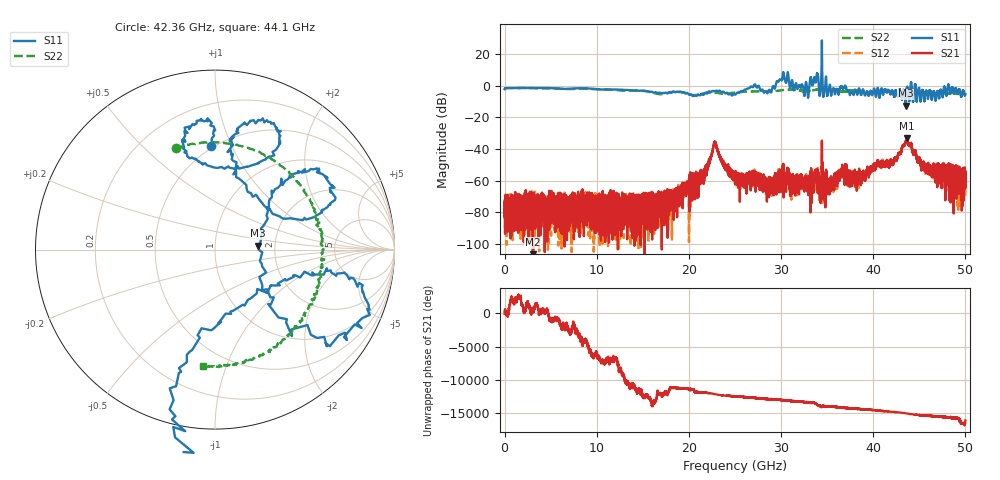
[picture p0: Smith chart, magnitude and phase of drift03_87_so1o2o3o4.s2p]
!Created with skrf (http://scikit-rf.org).
# Hz S RI R 50.0
!freq ReS11 ImS11 ReS21 ImS21 ReS12 ImS12 ReS22 ImS22
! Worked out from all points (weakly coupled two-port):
!   10000 points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, 5.3 MHz to 50 GHz, reference 50 ohm
!   highest |S21| = -33.19 dB at 43.64 GHz (marker M1); lowest = -110.8 dB at 3.075 GHz (marker M2)
!   lowest |S11| = -12.5 dB at 43.52 GHz (marker M3), VSWR 1.63, Z = 81 + j3.71 ohm
!   |S11| at or under -10 dB: 43.4829 GHz to 43.55339 GHz (70.49 MHz wide, 0.162 % of centre); 44.30414 GHz to 44.31686 GHz (12.72 MHz wide, 0.0287 % of centre); 44.7095 GHz to 44.71059 GHz (1.089 MHz wide, 0.00244 % of centre)
!   |S22| runs from -5.9 to -1.3 dB; largest |S21 - S12| = 0.018
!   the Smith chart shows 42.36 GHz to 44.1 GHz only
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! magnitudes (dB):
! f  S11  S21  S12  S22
! 5.3 MHz  -2.1  -74.9  -71.8  -2.1
! 3.075 GHz  -1.4  -110.8  -69.1  -1.5
! 8.34 GHz  -1.5  -75.6  -73.8  -1.9
! 16.67 GHz  -4.4  -77.6  -78.3  -5.1
! 21.09 GHz  -5.8  -58.8  -59.6  -5.5
! 21.97 GHz  -4.9  -52.3  -53.0  -4.3
! 22.81 GHz  -3.4  -35.2  -35.3  -4.4
! 25.01 GHz  -5.5  -56.2  -57.8  -4.3
! 27.02 GHz  -0.3  -59.8  -56.2  -3.5
! 28.72 GHz  -2.5  -64.7  -59.7  -3.5
! 30.14 GHz  4.4  -55.6  -57.8  -2.8
! 32.74 GHz  2.0  -58.9  -57.6  -3.3
! 33.34 GHz  2.6  -56.9  -57.4  -2.9
! 33.82 GHz  4.3  -59.7  -60.5  -2.5
! 34.81 GHz  1.2  -76.3  -70.8  -2.2
! 36.49 GHz  -0.5  -57.0  -55.4  -3.6
! 38.44 GHz  -1.6  -55.0  -53.7  -3.0
! 41.67 GHz  -2.9  -51.0  -49.3  -3.6
! 43.52 GHz  -12.5  -35.8  -35.5  -4.3
! 43.64 GHz  -1.7  -33.2  -33.3  -4.0
! 45.99 GHz  -7.1  -53.3  -50.5  -5.4
! 50 GHz  -5.2  -55.8  -59.9  -4.9
